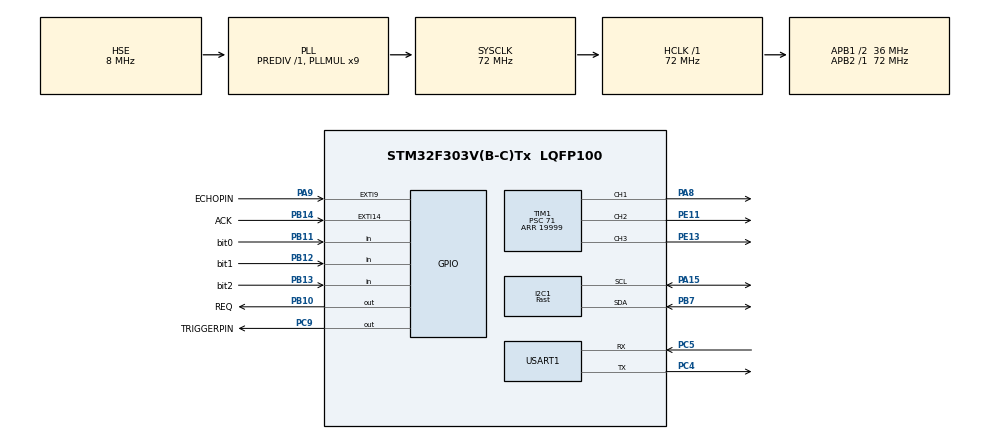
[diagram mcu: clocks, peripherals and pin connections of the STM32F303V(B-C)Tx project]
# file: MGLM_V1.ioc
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I2C1.I2C_Speed_Mode=I2C_Fast
I2C1.Timing=0x0010020A
Mcu.Family=STM32F3
Mcu.Name=STM32F303V(B-C)Tx
Mcu.Package=LQFP100
NVIC.EXTI15_10_IRQn=true\:0\:0\:false\:false\:true\:true\:true\:true
NVIC.EXTI9_5_IRQn=true\:0\:0\:false\:false\:true\:true\:true\:true
NVIC.PriorityGroup=NVIC_PRIORITYGROUP_0
NVIC.RCC_IRQn=true\:0\:0\:false\:false\:true\:true\:false\:true
NVIC.TIM3_IRQn=true\:0\:0\:false\:false\:true\:true\:true\:true
NVIC.TIM4_IRQn=true\:0\:0\:false\:false\:true\:true\:true\:true
PA13.Mode=Serial_Wire
PA13.Signal=SYS_JTMS-SWDIO
PA14.Mode=Serial_Wire
PA14.Signal=SYS_JTCK-SWCLK
PA15.Mode=I2C
PA15.Signal=I2C1_SCL
PA8.Signal=S_TIM1_CH1
PA9.GPIO_Label=ECHOPIN
PA9.GPIO_ModeDefaultEXTI=GPIO_MODE_IT_RISING_FALLING
PA9.Signal=GPXTI9
PB10.GPIO_Label=REQ
PB10.Signal=GPIO_Output
PB11.GPIO_Label=bit0
PB11.Signal=GPIO_Input
PB12.GPIO_Label=bit1
PB12.Signal=GPIO_Input
PB13.GPIO_Label=bit2
PB13.Signal=GPIO_Input
PB14.GPIO_Label=ACK
PB14.GPIO_ModeDefaultEXTI=GPIO_MODE_IT_FALLING
PB14.Signal=GPXTI14
PB7.Mode=I2C
PB7.Signal=I2C1_SDA
PC4.Mode=Asynchronous
PC4.Signal=USART1_TX
PC5.Mode=Asynchronous
PC5.Signal=USART1_RX
PC9.GPIO_Label=TRIGGERPIN
PC9.Signal=GPIO_Output
PE11.Signal=S_TIM1_CH2
PE13.Signal=S_TIM1_CH3
PF0-OSC_IN.Mode=HSE-External-Clock-Source
PF0-OSC_IN.Signal=RCC_OSC_IN
ProjectManager.HeapSize=0x200
ProjectManager.StackSize=0x400
ProjectManager.TargetToolchain=STM32CubeIDE
RCC.AHBFreq_Value=72000000
RCC.APB1CLKDivider=RCC_HCLK_DIV2
RCC.APB1Freq_Value=36000000
RCC.APB1TimFreq_Value=72000000
RCC.APB2Freq_Value=72000000
RCC.APB2TimFreq_Value=72000000
RCC.CortexFreq_Value=72000000
RCC.HCLKFreq_Value=72000000
RCC.HSE_VALUE=8000000
RCC.HSI_VALUE=8000000
RCC.LSE_VALUE=32768
RCC.PLLMUL=RCC_PLL_MUL9
RCC.PLLSourceVirtual=RCC_PLLSOURCE_HSE
RCC.SYSCLKFreq_VALUE=72000000
RCC.SYSCLKSourceVirtual=RCC_SYSCLKSOURCE_PLLCLK
RCC.USBFreq_Value=72000000
SH.S_TIM1_CH1.0=TIM1_CH1,PWM Generation1 CH1
SH.S_TIM1_CH2.0=TIM1_CH2,PWM Generation2 CH2
SH.S_TIM1_CH3.0=TIM1_CH3,PWM Generation3 CH3
TIM1.Channel-PWM\ Generation1\ CH1=TIM_CHANNEL_1
TIM1.Channel-PWM\ Generation2\ CH2=TIM_CHANNEL_2
TIM1.Channel-PWM\ Generation3\ CH3=TIM_CHANNEL_3
TIM1.Period=19999
TIM1.Prescaler=71
TIM2.Prescaler=71
TIM3.Period=21599
TIM3.Prescaler=9999
TIM4.Period=7199
TIM4.Prescaler=9999
USART1.VirtualMode-Asynchronous=VM_ASYNC
VP_TIM1_VS_ClockSourceINT.Mode=Internal
VP_TIM2_VS_ClockSourceINT.Mode=Internal
VP_TIM3_VS_ClockSourceINT.Mode=Internal
VP_TIM4_VS_ClockSourceINT.Mode=Internal
board=STM32F3DISCOVERY

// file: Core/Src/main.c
/* USER CODE BEGIN Header */
/**
  ******************************************************************************
  * @file           : main.c
  * @brief          : Main program body
  ******************************************************************************
  * @attention
  *
  * Copyright (c) 2026 STMicroelectronics.
  * All rights reserved.
  *
  * This software is licensed under terms that can be found in the LICENSE file
  * in the root directory of this software component.
  * If no LICENSE file comes with this software, it is provided AS-IS.
  *
  ******************************************************************************
  */
/* USER CODE END Header */
#include "main.h"

/* USER CODE BEGIN Includes */
#include "string.h"
#include "stdbool.h"
#include "fonts.h"
#include "ssd1306.h"
#include <stdio.h>
/* USER CODE END Includes */

/* USER CODE BEGIN PD */
//USIAMO DEGLI MNEMONICI PER LE PORTE DELLE VARIE PERIFERICHE
#define ECHOPORT GPIOA
#define TRIGGERPORT GPIOC
#define PARA_PORT GPIOB
//CODIFICA DELLA TIPOLOGIA DI RIFIUTO
#define CARTA	1
#define PLASTICA 2
#define VETRO	3
#define ORGANICO  4
/* USER CODE END PD */

I2C_HandleTypeDef hi2c1;

TIM_HandleTypeDef htim1;
TIM_HandleTypeDef htim2;
TIM_HandleTypeDef htim3;
TIM_HandleTypeDef htim4;

UART_HandleTypeDef huart1;

/* USER CODE BEGIN PV */
uint32_t echo_start =0;
uint32_t echo_stop= 0;
uint32_t distance = 0;

uint32_t soglia=17;

uint8_t res = 0;

uint8_t throwing = 0;

uint8_t wait_inf=0;

uint8_t vetroorg=0;
/* USER CODE END PV */

void SystemClock_Config(void);
static void MX_GPIO_Init(void);
static void MX_TIM2_Init(void);
static void MX_USART1_UART_Init(void);
static void MX_I2C1_Init(void);
static void MX_TIM1_Init(void);
static void MX_TIM3_Init(void);
static void MX_TIM4_Init(void);
/* USER CODE BEGIN PFP */
//PROTOTIPI DELLE FUNZIONI UTILIZZATE
void avvio_misura ();
void inferenza();
void throw();
/* USER CODE END PFP */

/* USER CODE BEGIN 0 */
void HAL_GPIO_EXTI_Callback(uint16_t GPIO_Pin) {

	//QUESTA CALLBACK VIENE ESEGUITA OGNI QUAL VOLTA CHE VI è UN INTERRUZIONE DI TIPO EXTI PERCIO'
	//E' NECESSESARIO DISTIGUERE COSA DOVER GESTIRE

	//GESTIONE DELL'ECCIZIONE CAUSATA DA VARIAZIONE SUL PIN RELATIVO AL SEGNALE DI ECHO DEL SENSORE DI PROSSIMITA'
	//NOTA: INIBIAMO TALE ESECUZIONE NEL CASO IN CUI WAIT_INF SIA UGUALE A 1 (CIOE' STIAMO FACENDO UN INFERENZA)
	if (GPIO_Pin == ECHOPIN_Pin && wait_inf==0) {

		//ECHO PROVOCA INTERRUZIONE SIA SU FRONTE DI SALITA CHE DI DISCESA
		//PERCIO' QUANDO VIENE ESEGUITA QUESTA CALLBACK VERIFICARE SE SI TRATTI DI RISE O DI FALL
		if (HAL_GPIO_ReadPin(ECHOPORT, ECHOPIN_Pin) == GPIO_PIN_SET) {

			//SE E' UN FRONTE DI SALITA ALLORA SI PRENDE IL VALORE DI CONTEGGIO INIZIALE DEL TIMER2
			__HAL_TIM_SET_COUNTER(&htim2, 0);
			echo_start = __HAL_TIM_GET_COUNTER (&htim2);
		} else {

			//SE INVECE E' UN FRONTE DI DISCESA ALLORA SI PRENDE IL VALORE DI CONTEGGIO FINALE
			echo_stop = __HAL_TIM_GET_COUNTER (&htim2);

			//CON QUESTI DUE VALORI E' POSSIBILE DETERMINARE LA DISTANZA MEDIANTE LA SEGUENTE FORMULA
			distance = (echo_stop-echo_start)* 0.034/2;

			if (distance >= 30) distance = 30; //PER CORREGGERE L'OVERFLOW METTIAMO UNA SATURAZIONE

			//STAMPA DI DEBUG
			char msg[100] = {'\0'};
			sprintf(msg, "Dist: %ldcm\n", distance);
			HAL_UART_Transmit(&huart1, (uint8_t*)&msg, strlen(msg), 0xFFFF);

			//NEL CASO IN CUI LA DISTANZA SIA MINORE DELLA SOGLIA SIGNIFICA CHE è STATO RILEVATO UN OGGETTO
			if(distance<soglia){

				//PERCIO' SI AVVIA L'INFEREZA E SI PONE WAIT_INF=1 IN MODO DA STOPPARE LA RILEVAZIONE DI ALTRI RIFIUTI
				wait_inf=1;
				inferenza();
			}

		}
	}
	else if(GPIO_Pin == ACK_Pin){
		//COME DETTO SOPRA TALE CALLBACK PUO' ESSERE INVOCATA PER PIU MOTIVI PERCIO' GLI DISCRIMINIAMO
		//IN QUESTO CASO GESTIAMO L'INTERRUZIONE DOVUTA AL ***FRONTE DI DISCESA*** DEL SEGNALE DI ACK
		//IN TALE CASO UNA COMMUTAZIONE 1->0 DEL SEGNALE DI ACK RAPPRESENTA IL TERMINE DELL'INFERENZA

		//ESSENDO TERMINATA L'INFERENZA POSSIAMO LEGGERE IL RISULTATO, OVVERO LA CODIFICA DEL TIPO DI RIFIUTO
		res=0;
		res |= HAL_GPIO_ReadPin(PARA_PORT, bit0_Pin) << 0; // bit 0
		res |= HAL_GPIO_ReadPin(PARA_PORT, bit1_Pin) << 1; // bit 1
		res |= HAL_GPIO_ReadPin(PARA_PORT, bit2_Pin) << 2; // bit 2

		//RIALZIAMO IL SEGNALE DI REQ PER LE PROSSIME RICHIESTA
		HAL_GPIO_WritePin(PARA_PORT,REQ_Pin,GPIO_PIN_SET);

		//STAMPA DI DEBUG
		char msg[100] = {'\0'};
		sprintf(msg, "INFERENZA TERMINATA: %d\n",res);
		HAL_UART_Transmit(&huart1, (uint8_t*)&msg, strlen(msg), 0xFFFF);

		//NOTA ORA LA TIPOLOGIA DI RIFIUTO POSSIAMO GETTARLO NEL CESTINO CORRISPONDENTE.
		throw();
	}
}

//CALLBACK ESEGUITA A SEGUITO DELLO SCADERE DI UN TIMER
void HAL_TIM_PeriodElapsedCallback(TIM_HandleTypeDef *htim) {
	char msg[100] = {'\0'};

	//ANCHE IN QUESTO CASO LA CALLBACK è ESEGUITO A CAUSA DI VARI TIMER
	//PERCIò è NECESSARIO DISCRIMINARE QUALE TIMER SIA TERMINATO

	//TIMER 3: TIMER DI 3 SECONDI
	//TALE TIMER VIENE USATO IN 2 MODI DIFFERENTI
	//LA PRIMA VOLTA VIENE AVVIATO DOPO CHE IL PIATTO SI SIA PORTATO NELLA POSIZIONE RELATIVA
	//AL CESTINO CORRETTO, PERCIO' è NECESSARIO ATTENDERE 3 SECONDI (GRAZIE A TIM3) PRIMA DI
	//RIPORTARLO NELLA SUA POSIZIONE DI RIPOSO
	//MA POI VIENE RIATTIVATO POICHE TORNATO IN POSIZIONE DI EQUILIBRIO, LE OSCILLAZIONI POTREBBERO
	//FAR SCATTARE IL SENSORE PERCIO' DOPO ALTRI 3 SECONDI RIPORTIAMO WAIT_INF A 0 PER POTER
	//RICOMINCIARE LE MISURAZIONI E RILEVAZIONI DI OGGETTI.
	if (htim->Instance == TIM3) {

		//PERCIO' SE è SCADUTO IL TIMER TRE SIGNIFICA CHE SONO PASSATI 3 SECONDI, SE THROWING E'
		//PARI A 0 SIGNIFICA CHE è LA PRIMA VOLTA CHE SCATTA
		if (!throwing) {
			//STAMPA DI DEBUG
			sprintf(msg, "raddrizzo piatto %d\n", wait_inf);
			HAL_UART_Transmit(&huart1, (uint8_t*)&msg, strlen(msg), 0xFFFF);
			//FERMIAMO IL TIMER
			HAL_TIM_Base_Stop_IT(&htim3);

			//PORTIAMO IN POSIZIONE DI EQUILIBRIO IL PIATTO
			__HAL_TIM_SET_COMPARE(&htim1, TIM_CHANNEL_1, 500);
			__HAL_TIM_SET_COMPARE(&htim1, TIM_CHANNEL_2, 1389);
			__HAL_TIM_SET_COMPARE(&htim1, TIM_CHANNEL_3, 1389);

			//SETTIAMO A 1 TALE VARIABILE IN MODO TALE CHE LA PORSSIMA VOLTA SI VADA ALLO STEP SUCCESSIVO
			throwing = 1;

			//RIATTIVIAMO IL TIMER 3 PER ALTRI 3 SECONDI PER FAR STABILIZZARE IL PIATTO
			HAL_TIM_Base_Start_IT(&htim3);
		} else {
			//ARRIVATI A QUESTO PUNTO IL PIATTO SI è STABILIZZATO PERCIò è POSSIBILE RIATTIVARE LA RILEVAZIONE

			//STOPPIAMO IL TIMER
			HAL_TIM_Base_Stop_IT(&htim3);

			//RESETTIAMO THROWING
			throwing = 0;

			//SBLOCCHIAMO LA RILEVAZIONE
			wait_inf=0;

			//STAMPA DI DEBUG
			sprintf(msg, "sblocco wait %d\n", wait_inf);
			HAL_UART_Transmit(&huart1, (uint8_t*)&msg, strlen(msg), 0xFFFF);

			//SCRITTURA SULLO SCHERMO
			SSD1306_Clear(1);
			SSD1306_GotoXY(0, 0);
			SSD1306_Puts("THROW", &Font_11x18, 1);
			SSD1306_GotoXY(0, 30);
			SSD1306_Puts("SOMETHING", &Font_11x18, 1);
			SSD1306_UpdateScreen(1);

		}
	}
	else if (htim->Instance == TIM4) {
		//TIMER 4: TIMER DI 1 SECONDO, UTILIZZATO PER I RIFIUTI CHE RICHIEDONO CHE IL PIATTO RUOTI ANCHE.
		//PERCIò PRIMA RUOTA, ATTESA DI UN SECONDO E POI SI INCLINA
		//QUINDI QUANDO TALE CALLBACK è ESEGUITA SIGNIFICA CHE è PASSATO IL SECONDO è POSSIAMO INCLINARE IL PIATTO NEL VERSO GIUSTO

		//STOPPO IL TIMER
		HAL_TIM_Base_Stop_IT(&htim4);

		//INCLINIAMO IL PIATTO
		if(vetroorg==1){
			__HAL_TIM_SET_COMPARE(&htim1, TIM_CHANNEL_2, 944);
			__HAL_TIM_SET_COMPARE(&htim1, TIM_CHANNEL_3, 1833);
		}else if(vetroorg==2){
			__HAL_TIM_SET_COMPARE(&htim1, TIM_CHANNEL_2, 1833);
			__HAL_TIM_SET_COMPARE(&htim1, TIM_CHANNEL_3, 944);
		}
		vetroorg=0;

		//FACCIAMO PARTIRE IL TIMER 3 CHE RIPORTERA' IL PIATTO IN POSIZIONE DI RIPOSO
		HAL_TIM_Base_Start_IT(&htim3);
	}
}

void avvio_misura (){
	//PER AVVIARE UNA MISURAZIONE CON IL SENSORE DI PROSSIMITA' è NECESSARIO STIMOLARLO CON
	//UN IMPULSO DI DURATA 10MS
	HAL_GPIO_WritePin(TRIGGERPORT,TRIGGERPIN_Pin,GPIO_PIN_SET);
	HAL_Delay(10);
	HAL_GPIO_WritePin(TRIGGERPORT,TRIGGERPIN_Pin,GPIO_PIN_RESET);
}

void inferenza(){
	//STAMPA DI DEBUG
	char msg[100] = {'\0'};
	sprintf(msg, "OGGETTO RILEVATO->AVVIO INFERENZA\n");
	HAL_UART_Transmit(&huart1, (uint8_t*)&msg, strlen(msg), 0xFFFF);

	//PER RICHIEDERE L'INFERENZA E' NECESSARIO ABBASSARE IL SEGNALE DI REQ
	HAL_GPIO_WritePin(PARA_PORT,REQ_Pin,GPIO_PIN_RESET);

	//STAMPA SU SCHERMO
	SSD1306_Clear(1);
	SSD1306_GotoXY(0, 0);
	SSD1306_Puts("THINKING...", &Font_11x18, 1);
	SSD1306_UpdateScreen(1);
}

void throw(){
	char msg[100] = {'\0'};
	char stampa[16]={'\0'};
	//IN BASE AL RISULTATO DELL'INFERENZA E' POSSIBILE GETTARE IL RIFIUTO NEL CESTINO CORRETTO
	switch(res){
		case CARTA:{
			sprintf(msg, "CARTA\n");
			sprintf(stampa, "CARTA");
			//PER GETTARE LA CARTA, CHE SI TROVA NEL VERSO DELLA POSIZIONE DI RIPOSO
			//INCLINIAMO QUI IL PIATTO
			__HAL_TIM_SET_COMPARE(&htim1, TIM_CHANNEL_1, 500);
			__HAL_TIM_SET_COMPARE(&htim1, TIM_CHANNEL_2, 944);
			__HAL_TIM_SET_COMPARE(&htim1, TIM_CHANNEL_3, 1833);
			//AVVIAMO IL TIMER 3 PER RIPORTARE IL PIATTO IN POSIZIONE DI EQUILIBRIO
			HAL_TIM_Base_Start_IT(&htim3);
			break;
		}
		case PLASTICA:{
			sprintf(msg, "PLAST/MET\n");
			sprintf(stampa, "PLAST/MET");
			//PER GETTARE LA PLASTICA, CHE SI TROVA NEL VERSO DELLA POSIZIONE DI RIPOSO
			//INCLINIAMO QUI IL PIATTO
			__HAL_TIM_SET_COMPARE(&htim1, TIM_CHANNEL_1, 500);
			__HAL_TIM_SET_COMPARE(&htim1, TIM_CHANNEL_2, 1833);
			__HAL_TIM_SET_COMPARE(&htim1, TIM_CHANNEL_3, 944);
			//AVVIAMO IL TIMER 3 PER RIPORTARE IL PIATTO IN POSIZIONE DI EQUILIBRIO
			HAL_TIM_Base_Start_IT(&htim3);
			break;
		}
		case VETRO:{
			sprintf(msg, "VETRO\n");
			sprintf(stampa, "VETRO");
			//PER IL VETRO INVECE E' NECESSARIO PRIMA RUOTARE IL PIATTO
			//POI AVVIARE TIMER 4 CHE DOPO 1 SECONDO INCLINERà IL PIATTO
			//IL QUALE A SUA VOLTA AVVIA TIMER 3 PER RIPORTARLO IN POSIZIONE DI EQUILIBRIO
			__HAL_TIM_SET_COMPARE(&htim1, TIM_CHANNEL_1, 1500);
			vetroorg=1;
			HAL_TIM_Base_Start_IT(&htim4);
			break;
		}
		case ORGANICO:{
			sprintf(msg, "ORGANICO\n");
			sprintf(stampa, "ORGANICO");
			//PER L'ORGANICO INVECE E' NECESSARIO PRIMA RUOTARE IL PIATTO
			//POI AVVIARE TIMER 4 CHE DOPO 1 SECONDO INCLINERà IL PIATTO
			//IL QUALE A SUA VOLTA AVVIA TIMER 3 PER RIPORTARLO IN POSIZIONE DI EQUILIBRIO
			__HAL_TIM_SET_COMPARE(&htim1, TIM_CHANNEL_1, 1500);
			vetroorg=2;
			HAL_TIM_Base_Start_IT(&htim4);
			break;
		}
		default:{
			//NEL CASO IN CUI ARRIVI UNA CODIFICA DIVERSA DALLE PRECEDENTI
			//SI ASSUME UN ERRORE NELL'INFERENZA
			sprintf(msg, "ERRORE INFERENZA\n");
			sprintf(stampa, "ERROR");
			wait_inf=0;
			break;
		}
	}
	//STAMPA DI DEBUG
	HAL_UART_Transmit(&huart1, (uint8_t*)&msg, strlen(msg), 0xFFFF);
	//STAMPA A SCHERMO
	SSD1306_Clear(1);
	SSD1306_GotoXY(0, 0);
	SSD1306_Puts(stampa, &Font_11x18, 1);
	SSD1306_UpdateScreen(1);
}

/* USER CODE END 0 */

int main(void)
{

  /* MCU Configuration--------------------------------------------------------*/

  /* Reset of all peripherals, Initializes the Flash interface and the Systick. */
  HAL_Init();

  /* Configure the system clock */
  SystemClock_Config();

  /* Initialize all configured peripherals */
  MX_GPIO_Init();
  MX_TIM2_Init();
  MX_USART1_UART_Init();
  MX_I2C1_Init();
  MX_TIM1_Init();
  MX_TIM3_Init();
  MX_TIM4_Init();
  /* USER CODE BEGIN 2 */
  //ALZIAMO IL SEGNALE DI REQ, IL QUALE APPUNTO A RIPOSO E' ALTO
  HAL_GPIO_WritePin(PARA_PORT,REQ_Pin,GPIO_PIN_SET);

  //SETTIAMO A 0 IL TIMER 2 USATO PER GESTIRE IL SEGNALE DI ECHO
  // E FACCIAMOLO PARTIRE
  __HAL_TIM_SET_COUNTER(&htim2, 0);
  HAL_TIM_Base_Start(&htim2);

  //FACCIAMO PARTIRE I CANALI 1, 2 E 3 DEL TIM 1
  //NECESSARI PER LA GENERAZIONE DEI SEGNALI PWM PER IL CONTROLLO DEI SERVO MOTORI
  HAL_TIM_PWM_Start(&htim1, TIM_CHANNEL_1);
  HAL_TIM_PWM_Start(&htim1, TIM_CHANNEL_2);
  HAL_TIM_PWM_Start(&htim1, TIM_CHANNEL_3);

  //SCRITTURA SU SCHERMO
  SSD1306_Init(1);
  SSD1306_Init(2);

  SSD1306_Clear(1);
  SSD1306_GotoXY(0, 0);
  SSD1306_Puts("THROW", &Font_11x18, 1);
  SSD1306_GotoXY(0, 30);
  SSD1306_Puts("SOMETHING", &Font_11x18, 1);
  SSD1306_UpdateScreen(1);

  SSD1306_Clear(2);
  SSD1306_GotoXY(0, 30);
  SSD1306_Puts("CONCESTINO", &Font_11x18, 1);
  SSD1306_UpdateScreen(2);

  //POSIZIONE DI RIPOSO DEL PIATTO
  __HAL_TIM_SET_COMPARE(&htim1, TIM_CHANNEL_1, 500);
  __HAL_TIM_SET_COMPARE(&htim1, TIM_CHANNEL_2, 1389);
  __HAL_TIM_SET_COMPARE(&htim1, TIM_CHANNEL_3, 1389);

  //NECESSARI PER RISOLVERE UN BUG RELATIVO AI DUE TIMER SEGUENTI
  __HAL_TIM_CLEAR_FLAG(&htim3, TIM_FLAG_UPDATE);
  __HAL_TIM_CLEAR_FLAG(&htim4, TIM_FLAG_UPDATE);

  /* USER CODE END 2 */

  /* Infinite loop */
  while (1)
  {

    /* USER CODE BEGIN 3 */
	//A MENO CHE NON SI STIA ATTENDENDO LA FINE DI
	//UNA INFERENZA EFFETTUIAMO UNA NUOVA MISURA
	if(!wait_inf){
		avvio_misura();
		HAL_Delay(500);
	}

  }
  /* USER CODE END 3 */
}

void SystemClock_Config(void)
{
  RCC_OscInitTypeDef RCC_OscInitStruct = {0};
  RCC_ClkInitTypeDef RCC_ClkInitStruct = {0};
  RCC_PeriphCLKInitTypeDef PeriphClkInit = {0};

  /** Initializes the RCC Oscillators according to the specified parameters
  * in the RCC_OscInitTypeDef structure.
  */
  RCC_OscInitStruct.OscillatorType = RCC_OSCILLATORTYPE_HSI|RCC_OSCILLATORTYPE_HSE;
  RCC_OscInitStruct.HSEState = RCC_HSE_BYPASS;
  RCC_OscInitStruct.HSEPredivValue = RCC_HSE_PREDIV_DIV1;
  RCC_OscInitStruct.HSIState = RCC_HSI_ON;
  RCC_OscInitStruct.HSICalibrationValue = RCC_HSICALIBRATION_DEFAULT;
  RCC_OscInitStruct.PLL.PLLState = RCC_PLL_ON;
  RCC_OscInitStruct.PLL.PLLSource = RCC_PLLSOURCE_HSE;
  RCC_OscInitStruct.PLL.PLLMUL = RCC_PLL_MUL9;
  if (HAL_RCC_OscConfig(&RCC_OscInitStruct) != HAL_OK)
  {
    Error_Handler();
  }

  /** Initializes the CPU, AHB and APB buses clocks
  */
  RCC_ClkInitStruct.ClockType = RCC_CLOCKTYPE_HCLK|RCC_CLOCKTYPE_SYSCLK
                              |RCC_CLOCKTYPE_PCLK1|RCC_CLOCKTYPE_PCLK2;
  RCC_ClkInitStruct.SYSCLKSource = RCC_SYSCLKSOURCE_PLLCLK;
  RCC_ClkInitStruct.AHBCLKDivider = RCC_SYSCLK_DIV1;
  RCC_ClkInitStruct.APB1CLKDivider = RCC_HCLK_DIV2;
  RCC_ClkInitStruct.APB2CLKDivider = RCC_HCLK_DIV1;

  if (HAL_RCC_ClockConfig(&RCC_ClkInitStruct, FLASH_LATENCY_2) != HAL_OK)
  {
    Error_Handler();
  }
  PeriphClkInit.PeriphClockSelection = RCC_PERIPHCLK_USART1|RCC_PERIPHCLK_I2C1
                              |RCC_PERIPHCLK_TIM1;
  PeriphClkInit.Usart1ClockSelection = RCC_USART1CLKSOURCE_PCLK2;
  PeriphClkInit.I2c1ClockSelection = RCC_I2C1CLKSOURCE_HSI;
  PeriphClkInit.Tim1ClockSelection = RCC_TIM1CLK_HCLK;
  if (HAL_RCCEx_PeriphCLKConfig(&PeriphClkInit) != HAL_OK)
  {
    Error_Handler();
  }
}

static void MX_I2C1_Init(void)
{

  hi2c1.Instance = I2C1;
  hi2c1.Init.Timing = 0x0010020A;
  hi2c1.Init.OwnAddress1 = 0;
  hi2c1.Init.AddressingMode = I2C_ADDRESSINGMODE_7BIT;
  hi2c1.Init.DualAddressMode = I2C_DUALADDRESS_DISABLE;
  hi2c1.Init.OwnAddress2 = 0;
  hi2c1.Init.OwnAddress2Masks = I2C_OA2_NOMASK;
  hi2c1.Init.GeneralCallMode = I2C_GENERALCALL_DISABLE;
  hi2c1.Init.NoStretchMode = I2C_NOSTRETCH_DISABLE;
  if (HAL_I2C_Init(&hi2c1) != HAL_OK)
  {
    Error_Handler();
  }

  /** Configure Analogue filter
  */
  if (HAL_I2CEx_ConfigAnalogFilter(&hi2c1, I2C_ANALOGFILTER_ENABLE) != HAL_OK)
  {
    Error_Handler();
  }

  /** Configure Digital filter
  */
  if (HAL_I2CEx_ConfigDigitalFilter(&hi2c1, 0) != HAL_OK)
  {
    Error_Handler();
  }

}

static void MX_TIM1_Init(void)
{

  TIM_ClockConfigTypeDef sClockSourceConfig = {0};
  TIM_MasterConfigTypeDef sMasterConfig = {0};
  TIM_OC_InitTypeDef sConfigOC = {0};
  TIM_BreakDeadTimeConfigTypeDef sBreakDeadTimeConfig = {0};

  htim1.Instance = TIM1;
  htim1.Init.Prescaler = 71;
  htim1.Init.CounterMode = TIM_COUNTERMODE_UP;
  htim1.Init.Period = 19999;
  htim1.Init.ClockDivision = TIM_CLOCKDIVISION_DIV1;
  htim1.Init.RepetitionCounter = 0;
  htim1.Init.AutoReloadPreload = TIM_AUTORELOAD_PRELOAD_DISABLE;
  if (HAL_TIM_Base_Init(&htim1) != HAL_OK)
  {
    Error_Handler();
  }
  sClockSourceConfig.ClockSource = TIM_CLOCKSOURCE_INTERNAL;
  if (HAL_TIM_ConfigClockSource(&htim1, &sClockSourceConfig) != HAL_OK)
  {
    Error_Handler();
  }
  if (HAL_TIM_PWM_Init(&htim1) != HAL_OK)
  {
    Error_Handler();
  }
  sMasterConfig.MasterOutputTrigger = TIM_TRGO_RESET;
  sMasterConfig.MasterOutputTrigger2 = TIM_TRGO2_RESET;
  sMasterConfig.MasterSlaveMode = TIM_MASTERSLAVEMODE_DISABLE;
  if (HAL_TIMEx_MasterConfigSynchronization(&htim1, &sMasterConfig) != HAL_OK)
  {
    Error_Handler();
  }
  sConfigOC.OCMode = TIM_OCMODE_PWM1;
  sConfigOC.Pulse = 0;
  sConfigOC.OCPolarity = TIM_OCPOLARITY_HIGH;
  sConfigOC.OCNPolarity = TIM_OCNPOLARITY_HIGH;
  sConfigOC.OCFastMode = TIM_OCFAST_DISABLE;
  sConfigOC.OCIdleState = TIM_OCIDLESTATE_RESET;
  sConfigOC.OCNIdleState = TIM_OCNIDLESTATE_RESET;
  if (HAL_TIM_PWM_ConfigChannel(&htim1, &sConfigOC, TIM_CHANNEL_1) != HAL_OK)
  {
    Error_Handler();
  }
  if (HAL_TIM_PWM_ConfigChannel(&htim1, &sConfigOC, TIM_CHANNEL_2) != HAL_OK)
  {
    Error_Handler();
  }
  if (HAL_TIM_PWM_ConfigChannel(&htim1, &sConfigOC, TIM_CHANNEL_3) != HAL_OK)
  {
    Error_Handler();
  }
  sBreakDeadTimeConfig.OffStateRunMode = TIM_OSSR_DISABLE;
  sBreakDeadTimeConfig.OffStateIDLEMode = TIM_OSSI_DISABLE;
  sBreakDeadTimeConfig.LockLevel = TIM_LOCKLEVEL_OFF;
  sBreakDeadTimeConfig.DeadTime = 0;
  sBreakDeadTimeConfig.BreakState = TIM_BREAK_DISABLE;
  sBreakDeadTimeConfig.BreakPolarity = TIM_BREAKPOLARITY_HIGH;
  sBreakDeadTimeConfig.BreakFilter = 0;
  sBreakDeadTimeConfig.Break2State = TIM_BREAK2_DISABLE;
  sBreakDeadTimeConfig.Break2Polarity = TIM_BREAK2POLARITY_HIGH;
  sBreakDeadTimeConfig.Break2Filter = 0;
  sBreakDeadTimeConfig.AutomaticOutput = TIM_AUTOMATICOUTPUT_DISABLE;
  if (HAL_TIMEx_ConfigBreakDeadTime(&htim1, &sBreakDeadTimeConfig) != HAL_OK)
  {
    Error_Handler();
  }
  HAL_TIM_MspPostInit(&htim1);

}

static void MX_TIM2_Init(void)
{

  TIM_ClockConfigTypeDef sClockSourceConfig = {0};
  TIM_MasterConfigTypeDef sMasterConfig = {0};

  htim2.Instance = TIM2;
  htim2.Init.Prescaler = 71;
  htim2.Init.CounterMode = TIM_COUNTERMODE_UP;
  htim2.Init.Period = 4294967295;
  htim2.Init.ClockDivision = TIM_CLOCKDIVISION_DIV1;
  htim2.Init.AutoReloadPreload = TIM_AUTORELOAD_PRELOAD_DISABLE;
  if (HAL_TIM_Base_Init(&htim2) != HAL_OK)
  {
    Error_Handler();
  }
  sClockSourceConfig.ClockSource = TIM_CLOCKSOURCE_INTERNAL;
  if (HAL_TIM_ConfigClockSource(&htim2, &sClockSourceConfig) != HAL_OK)
  {
    Error_Handler();
  }
  sMasterConfig.MasterOutputTrigger = TIM_TRGO_RESET;
  sMasterConfig.MasterSlaveMode = TIM_MASTERSLAVEMODE_DISABLE;
  if (HAL_TIMEx_MasterConfigSynchronization(&htim2, &sMasterConfig) != HAL_OK)
  {
    Error_Handler();
  }

}

static void MX_TIM3_Init(void)
{

  TIM_ClockConfigTypeDef sClockSourceConfig = {0};
  TIM_MasterConfigTypeDef sMasterConfig = {0};

  htim3.Instance = TIM3;
  htim3.Init.Prescaler = 9999;
  htim3.Init.CounterMode = TIM_COUNTERMODE_UP;
  htim3.Init.Period = 21599;
  htim3.Init.ClockDivision = TIM_CLOCKDIVISION_DIV1;
  htim3.Init.AutoReloadPreload = TIM_AUTORELOAD_PRELOAD_DISABLE;
  if (HAL_TIM_Base_Init(&htim3) != HAL_OK)
  {
    Error_Handler();
  }
  sClockSourceConfig.ClockSource = TIM_CLOCKSOURCE_INTERNAL;
  if (HAL_TIM_ConfigClockSource(&htim3, &sClockSourceConfig) != HAL_OK)
  {
    Error_Handler();
  }
  sMasterConfig.MasterOutputTrigger = TIM_TRGO_RESET;
  sMasterConfig.MasterSlaveMode = TIM_MASTERSLAVEMODE_DISABLE;
  if (HAL_TIMEx_MasterConfigSynchronization(&htim3, &sMasterConfig) != HAL_OK)
  {
    Error_Handler();
  }

}

static void MX_TIM4_Init(void)
{

  TIM_ClockConfigTypeDef sClockSourceConfig = {0};
  TIM_MasterConfigTypeDef sMasterConfig = {0};

  htim4.Instance = TIM4;
  htim4.Init.Prescaler = 9999;
  htim4.Init.CounterMode = TIM_COUNTERMODE_UP;
  htim4.Init.Period = 7199;
  htim4.Init.ClockDivision = TIM_CLOCKDIVISION_DIV1;
  htim4.Init.AutoReloadPreload = TIM_AUTORELOAD_PRELOAD_DISABLE;
  if (HAL_TIM_Base_Init(&htim4) != HAL_OK)
  {
    Error_Handler();
  }
  sClockSourceConfig.ClockSource = TIM_CLOCKSOURCE_INTERNAL;
  if (HAL_TIM_ConfigClockSource(&htim4, &sClockSourceConfig) != HAL_OK)
  {
    Error_Handler();
  }
  sMasterConfig.MasterOutputTrigger = TIM_TRGO_RESET;
  sMasterConfig.MasterSlaveMode = TIM_MASTERSLAVEMODE_DISABLE;
  if (HAL_TIMEx_MasterConfigSynchronization(&htim4, &sMasterConfig) != HAL_OK)
  {
    Error_Handler();
  }

}

static void MX_USART1_UART_Init(void)
{

  huart1.Instance = USART1;
  huart1.Init.BaudRate = 38400;
  huart1.Init.WordLength = UART_WORDLENGTH_8B;
  huart1.Init.StopBits = UART_STOPBITS_1;
  huart1.Init.Parity = UART_PARITY_NONE;
  huart1.Init.Mode = UART_MODE_TX_RX;
  huart1.Init.HwFlowCtl = UART_HWCONTROL_NONE;
  huart1.Init.OverSampling = UART_OVERSAMPLING_16;
  huart1.Init.OneBitSampling = UART_ONE_BIT_SAMPLE_DISABLE;
  huart1.AdvancedInit.AdvFeatureInit = UART_ADVFEATURE_NO_INIT;
  if (HAL_UART_Init(&huart1) != HAL_OK)
  {
    Error_Handler();
  }

}

static void MX_GPIO_Init(void)
{
  GPIO_InitTypeDef GPIO_InitStruct = {0};

  /* GPIO Ports Clock Enable */
  __HAL_RCC_GPIOF_CLK_ENABLE();
  __HAL_RCC_GPIOC_CLK_ENABLE();
  __HAL_RCC_GPIOE_CLK_ENABLE();
  __HAL_RCC_GPIOB_CLK_ENABLE();
  __HAL_RCC_GPIOA_CLK_ENABLE();

  /*Configure GPIO pin Output Level */
  HAL_GPIO_WritePin(REQ_GPIO_Port, REQ_Pin, GPIO_PIN_RESET);

  /*Configure GPIO pin Output Level */
  HAL_GPIO_WritePin(TRIGGERPIN_GPIO_Port, TRIGGERPIN_Pin, GPIO_PIN_RESET);

  /*Configure GPIO pin : REQ_Pin */
  GPIO_InitStruct.Pin = REQ_Pin;
  GPIO_InitStruct.Mode = GPIO_MODE_OUTPUT_PP;
  GPIO_InitStruct.Pull = GPIO_NOPULL;
  GPIO_InitStruct.Speed = GPIO_SPEED_FREQ_LOW;
  HAL_GPIO_Init(REQ_GPIO_Port, &GPIO_InitStruct);

  /*Configure GPIO pins : bit0_Pin bit1_Pin bit2_Pin */
  GPIO_InitStruct.Pin = bit0_Pin|bit1_Pin|bit2_Pin;
  GPIO_InitStruct.Mode = GPIO_MODE_INPUT;
  GPIO_InitStruct.Pull = GPIO_NOPULL;
  HAL_GPIO_Init(GPIOB, &GPIO_InitStruct);

  /*Configure GPIO pin : ACK_Pin */
  GPIO_InitStruct.Pin = ACK_Pin;
  GPIO_InitStruct.Mode = GPIO_MODE_IT_FALLING;
  GPIO_InitStruct.Pull = GPIO_NOPULL;
  HAL_GPIO_Init(ACK_GPIO_Port, &GPIO_InitStruct);

  /*Configure GPIO pin : TRIGGERPIN_Pin */
  GPIO_InitStruct.Pin = TRIGGERPIN_Pin;
  GPIO_InitStruct.Mode = GPIO_MODE_OUTPUT_PP;
  GPIO_InitStruct.Pull = GPIO_NOPULL;
  GPIO_InitStruct.Speed = GPIO_SPEED_FREQ_LOW;
  HAL_GPIO_Init(TRIGGERPIN_GPIO_Port, &GPIO_InitStruct);

  /*Configure GPIO pin : ECHOPIN_Pin */
  GPIO_InitStruct.Pin = ECHOPIN_Pin;
  GPIO_InitStruct.Mode = GPIO_MODE_IT_RISING_FALLING;
  GPIO_InitStruct.Pull = GPIO_NOPULL;
  HAL_GPIO_Init(ECHOPIN_GPIO_Port, &GPIO_InitStruct);

  /* EXTI interrupt init*/
  HAL_NVIC_SetPriority(EXTI9_5_IRQn, 0, 0);
  HAL_NVIC_EnableIRQ(EXTI9_5_IRQn);

  HAL_NVIC_SetPriority(EXTI15_10_IRQn, 0, 0);
  HAL_NVIC_EnableIRQ(EXTI15_10_IRQn);

}

void Error_Handler(void)
{
  __disable_irq();
  while (1)
  {
  }
}
